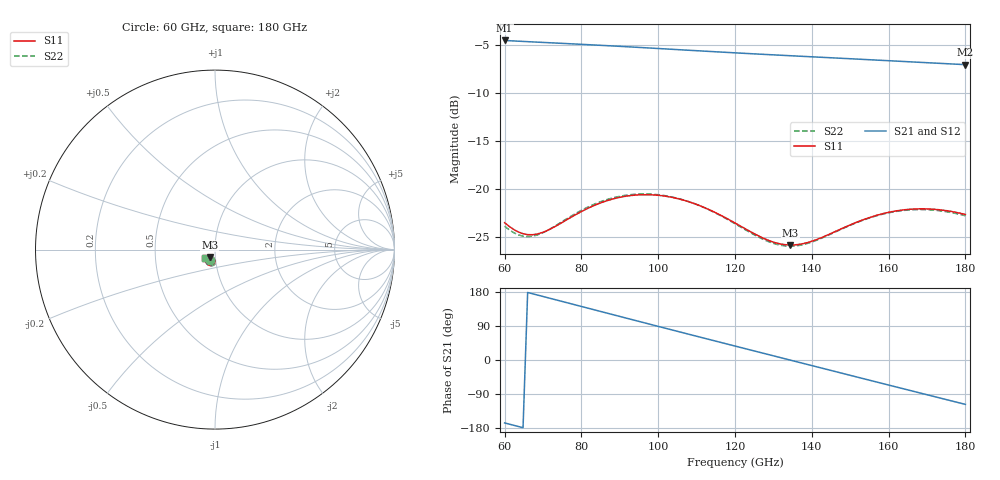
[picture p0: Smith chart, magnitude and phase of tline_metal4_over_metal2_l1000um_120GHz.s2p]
#  GHZ S DB R 50
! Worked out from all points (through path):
!   101 points, 60 GHz to 180 GHz, reference 50 ohm
!   highest |S21| = -4.57 dB at 60 GHz (marker M1); lowest = -7.1 dB at 180 GHz (marker M2)
!   group delay of S21, straight-line fit = 7.2 ps
!   lowest |S11| = -25.8 dB at 134.4 GHz (marker M3), VSWR 1.11, Z = 47 - j3.96 ohm
!   |S11| at or under -10 dB: start of sweep to end of sweep
!   |S22| runs from -26.0 to -20.5 dB; largest |S21 - S12| = 6.2e-14
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60  -23.52 -116.0  -4.57 -166.1  -4.57 -166.1  -23.89 -113.5
64.8  -24.67 -106.7  -4.67 -178.7  -4.67 -178.7  -24.92 -103.1
68.4  -24.71 -98.9  -4.75 171.8  -4.75 171.8  -24.81 -95.0
74.4  -23.63 -91.2  -4.86 156.0  -4.86 156.0  -23.55 -88.0
80.4  -22.28 -91.7  -4.98 140.2  -4.98 140.2  -22.15 -89.3
86.4  -21.27 -97.2  -5.11 124.4  -5.11 124.4  -21.15 -95.4
91.2  -20.79 -103.4  -5.21 111.8  -5.21 111.8  -20.69 -101.9
96  -20.61 -110.2  -5.32 99.2  -5.32 99.2  -20.53 -109.0
100.8  -20.71 -117.2  -5.43 86.7  -5.43 86.7  -20.65 -116.1
105.6  -21.07 -123.8  -5.54 74.1  -5.54 74.1  -21.04 -122.9
110.4  -21.68 -129.5  -5.65 61.7  -5.65 61.7  -21.69 -128.7
120  -23.55 -136.0  -5.86 36.8  -5.86 36.8  -23.63 -135.3
127.2  -25.10 -133.6  -6.01 18.3  -6.01 18.3  -25.22 -132.7
134.4  -25.84 -124.7  -6.16 -0.3  -6.16 -0.3  -25.96 -123.4
140.4  -25.40 -117.3  -6.28 -15.7  -6.28 -15.7  -25.48 -115.9
145.2  -24.60 -114.4  -6.38 -28.1  -6.38 -28.1  -24.66 -113.1
151.2  -23.55 -114.9  -6.50 -43.5  -6.50 -43.5  -23.59 -113.8
156  -22.86 -117.7  -6.60 -55.8  -6.60 -55.8  -22.90 -116.8
160.8  -22.38 -121.7  -6.69 -68.1  -6.69 -68.1  -22.43 -121.0
165.6  -22.12 -126.4  -6.79 -80.4  -6.79 -80.4  -22.19 -125.9
170.4  -22.09 -131.3  -6.89 -92.7  -6.89 -92.7  -22.18 -130.9
180  -22.67 -140.0  -7.09 -117.1  -7.09 -117.1  -22.80 -139.7
